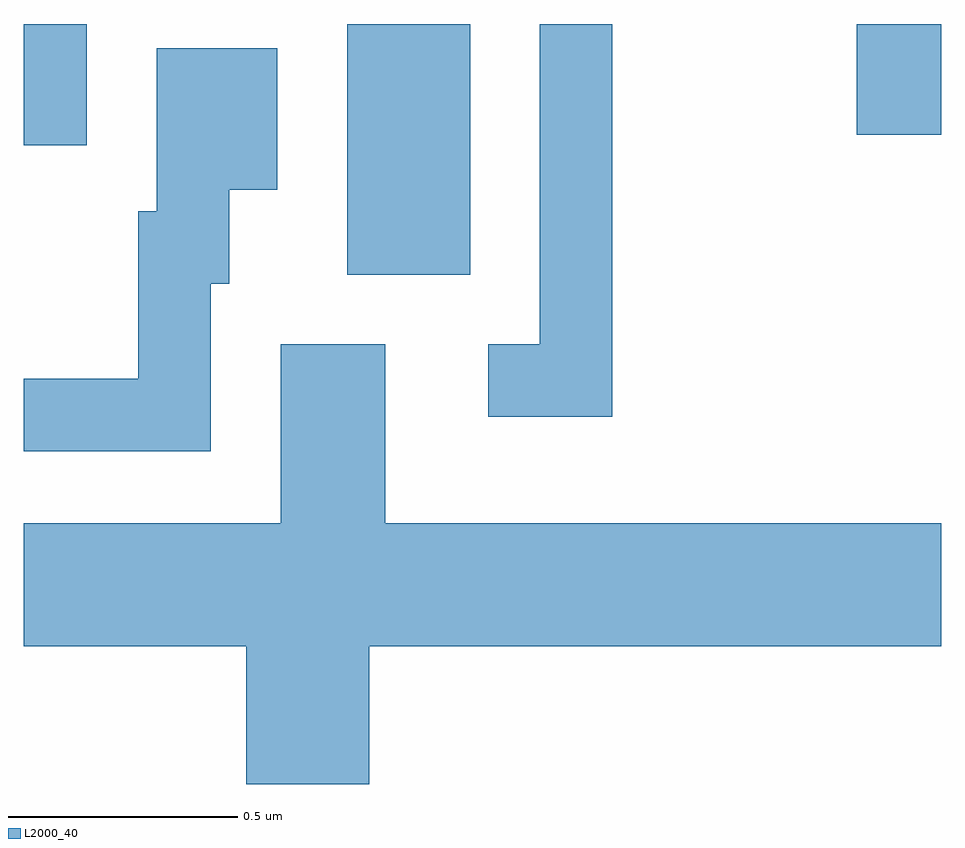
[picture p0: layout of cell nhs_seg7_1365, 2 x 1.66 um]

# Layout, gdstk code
import gdstk
lib = gdstk.Library(unit=1e-6, precision=1e-09)
def R(c, l, rs):  # rectangles x0, y0, x1, y1
    for r in rs: c.add(gdstk.rectangle(r[:2], r[2:], *l))
def P(c, l, *ps):  # polygons
    for p in ps: c.add(gdstk.Polygon(p, *l))
L2000_40 = (2000, 40)

nhs_seg7_1365 = lib.new_cell('nhs_seg7_1365')
R(nhs_seg7_1365, L2000_40, [(195.316,1801.706,195.584,1802.252), (194.611,1801.988,194.749,1802.252), (196.426,1802.011,196.611,1802.252)])
P(nhs_seg7_1365, L2000_40, [(195.894,1802.252),(195.736,1802.252),(195.736,1801.554),(195.623,1801.554),(195.623,1801.396),(195.894,1801.396)],
  [(195.019,1801.686),(195.059,1801.686),(195.059,1801.891),(195.164,1801.891),(195.164,1802.199),(194.901,1802.199),(194.901,1801.844),(194.861,1801.844),(194.861,1801.479),(194.611,1801.479),(194.611,1801.321),(195.019,1801.321)],
  [(195.364,1800.896),(196.611,1800.896),(196.611,1801.164),(195.399,1801.164),(195.399,1801.554),(195.171,1801.554),(195.171,1801.164),(194.611,1801.164),(194.611,1800.896),(195.096,1800.896),(195.096,1800.596),(195.364,1800.596)])

lib.write_gds('nhs_seg7_1365.gds')
